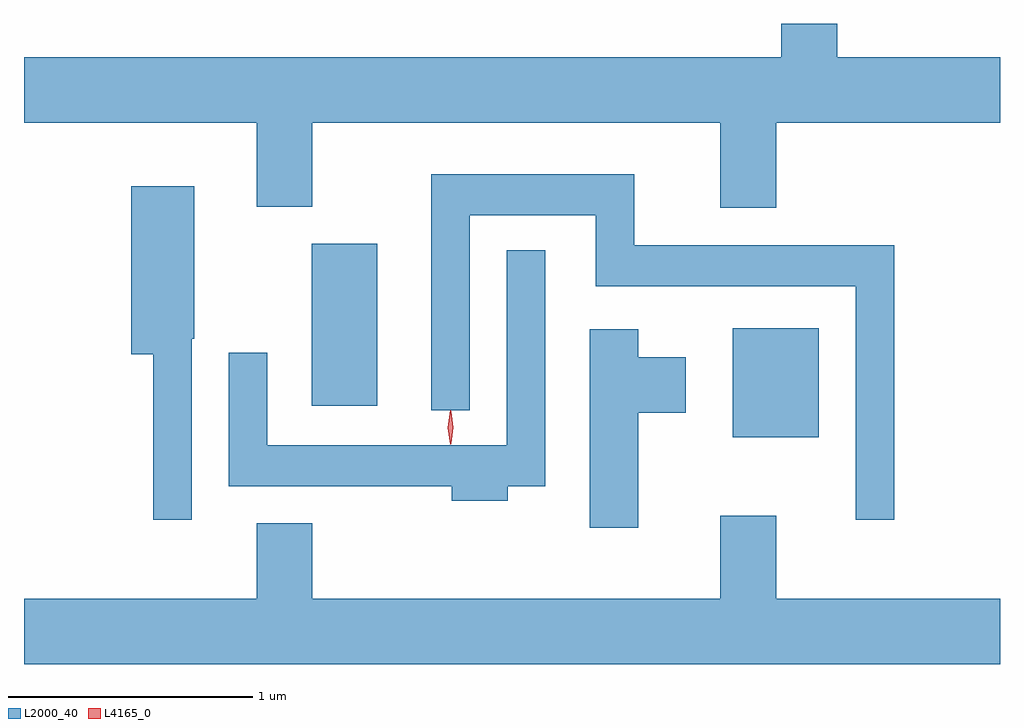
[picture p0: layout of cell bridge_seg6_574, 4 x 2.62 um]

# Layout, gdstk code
import gdstk
lib = gdstk.Library(unit=1e-6, precision=1e-09)
def R(c, l, rs):  # rectangles x0, y0, x1, y1
    for r in rs: c.add(gdstk.rectangle(r[:2], r[2:], *l))
def P(c, l, *ps):  # polygons
    for p in ps: c.add(gdstk.Polygon(p, *l))
L2000_40 = (2000, 40)
L4165_0 = (4165, 0)

bridge_seg6_574 = lib.new_cell('bridge_seg6_574')
R(bridge_seg6_574, L2000_40, [(471.921,1610.906,472.274,1611.354), (470.196,1611.036,470.464,1611.699)])
P(bridge_seg6_574, L2000_40, [(472.099,1612.196),(473.017,1612.196),(473.017,1612.464),(472.349,1612.464),(472.349,1612.601),(472.121,1612.601),(472.121,1612.464),(469.017,1612.464),(469.017,1612.196),(469.971,1612.196),(469.971,1611.851),(470.199,1611.851),(470.199,1612.196),(471.871,1612.196),(471.871,1611.846),(472.099,1611.846)],
  [(472.584,1611.694),(471.519,1611.694),(471.519,1611.984),(470.686,1611.984),(470.686,1611.018),(470.844,1611.018),(470.844,1611.816),(471.361,1611.816),(471.361,1611.526),(472.426,1611.526),(472.426,1610.568),(472.584,1610.568)],
  [(469.704,1611.31),(469.714,1611.31),(469.714,1611.934),(469.456,1611.934),(469.456,1611.246),(469.546,1611.246),(469.546,1610.568),(469.704,1610.568)],
  [(470.999,1610.706),(471.154,1610.706),(471.154,1611.673),(470.996,1611.673),(470.996,1610.874),(470.014,1610.874),(470.014,1611.253),(469.856,1611.253),(469.856,1610.706),(470.771,1610.706),(470.771,1610.646),(470.999,1610.646)],
  [(471.534,1611.006),(471.729,1611.006),(471.729,1611.234),(471.534,1611.234),(471.534,1611.349),(471.336,1611.349),(471.336,1610.536),(471.534,1610.536)],
  [(473.017,1610.244),(472.099,1610.244),(472.099,1610.584),(471.871,1610.584),(471.871,1610.244),(470.199,1610.244),(470.199,1610.554),(469.971,1610.554),(469.971,1610.244),(469.017,1610.244),(469.017,1609.976),(473.017,1609.976)])
P(bridge_seg6_574, L4165_0, [(470.764,1610.877),(470.764,1610.877),(470.754,1610.946),(470.764,1611.016),(470.764,1611.016),(470.765,1611.016),(470.774,1610.946),(470.765,1610.877)],
  [(470.767,1610.879),(470.767,1610.88),(470.757,1610.946),(470.766,1611.012),(470.767,1611.013),(470.767,1611.012),(470.777,1610.946),(470.768,1610.88)])

lib.write_gds('bridge_seg6_574.gds')
